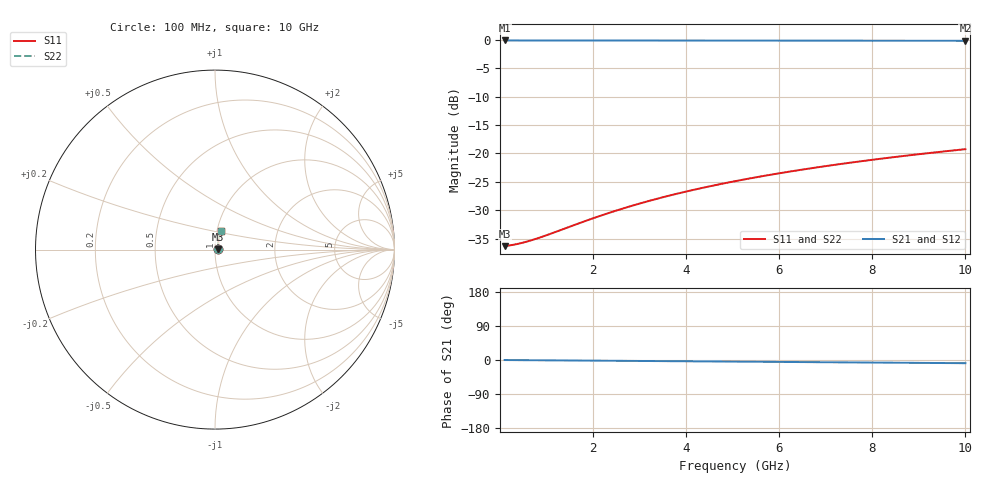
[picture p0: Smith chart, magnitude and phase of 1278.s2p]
# Hz S RI R 50.00
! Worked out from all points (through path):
!   100 points, 100 MHz to 10 GHz, reference 50 ohm
!   highest |S21| = -0.13 dB at 100 MHz (marker M1); lowest = -0.2 dB at 10 GHz (marker M2)
!   group delay of S21, straight-line fit = 2.34 ps
!   lowest |S11| = -36.3 dB at 100 MHz (marker M3), VSWR 1.03, Z = 51.5 + j0.109 ohm
!   |S11| at or under -10 dB: start of sweep to end of sweep
!   |S22| runs from -36.3 to -19.3 dB; largest |S21 - S12| = 0
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1e8  0.0152 0.00106  0.9848 -0.00145  0.9848 -0.00145  0.0152 0.00106
3e8  0.0154 0.00318  0.9846 -0.00435  0.9846 -0.00435  0.0154 0.00318
4e8  0.0155 0.00424  0.9845 -0.0058  0.9845 -0.0058  0.0155 0.00424
5e8  0.0156 0.0053  0.9844 -0.00725  0.9844 -0.00725  0.0156 0.0053
7e8  0.0157 0.00742  0.9843 -0.0101  0.9843 -0.0101  0.0157 0.00742
1e9  0.0159 0.0106  0.9841 -0.0145  0.9841 -0.0145  0.0159 0.0106
1.8e9  0.0164 0.0191  0.9836 -0.0261  0.9836 -0.0261  0.0164 0.0191
2.2e9  0.0167 0.0233  0.9832 -0.0319  0.9832 -0.0319  0.0167 0.0233
2.6e9  0.0171 0.0275  0.9829 -0.0376  0.9829 -0.0376  0.0171 0.0275
3e9  0.0175 0.0317  0.9824 -0.0434  0.9824 -0.0434  0.0175 0.0317
3.4e9  0.0179 0.0359  0.982 -0.0492  0.982 -0.0492  0.0179 0.0359
3.8e9  0.0184 0.0401  0.9815 -0.055  0.9815 -0.055  0.0184 0.0401
4.2e9  0.019 0.0443  0.9809 -0.0607  0.9809 -0.0607  0.019 0.0443
4.6e9  0.0195 0.0485  0.9803 -0.0665  0.9803 -0.0665  0.0195 0.0485
5.1e9  0.0203 0.0537  0.9794 -0.0737  0.9794 -0.0737  0.0203 0.0537
5.5e9  0.021 0.0579  0.9787 -0.0794  0.9787 -0.0794  0.021 0.0579
5.9e9  0.0218 0.0621  0.9779 -0.0851  0.9779 -0.0851  0.0218 0.0621
6.7e9  0.0234 0.0704  0.9762 -0.0966  0.9762 -0.0966  0.0234 0.0704
7.5e9  0.0252 0.0786  0.9743 -0.108  0.9743 -0.108  0.0252 0.0786
8.4e9  0.0275 0.0879  0.9719 -0.1207  0.9719 -0.1207  0.0275 0.0879
9.2e9  0.0297 0.096  0.9696 -0.132  0.9696 -0.132  0.0297 0.096
1e10  0.0321 0.1041  0.9671 -0.1432  0.9671 -0.1432  0.0321 0.1041
